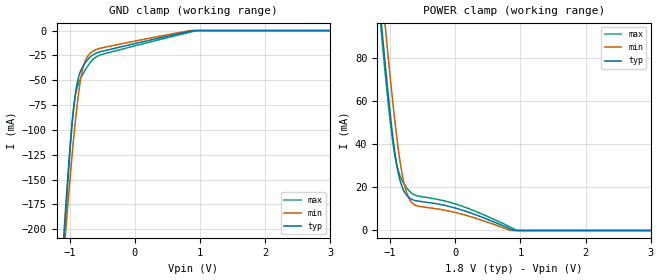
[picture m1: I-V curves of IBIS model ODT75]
| [Disclaimer]  This software code and all associated documentation, comments
| or other information (collectively "Software") is provided
| "AS IS" without warranty of any kind. MICRON TECHNOLOGY, INC.
| ("MTI") EXPRESSLY DISCLAIMS ALL WARRANTIES EXPRESS OR IMPLIED,
| INCLUDING BUT NOT LIMITED TO, NONINFRINGEMENT OF THIRD PARTY
| RIGHTS, AND ANY IMPLIED WARRANTIES OF MERCHANTABILITY OR
| FITNESS FOR ANY PARTICULAR PURPOSE. MTI DOES NOT WARRANT THAT
| THE SOFTWARE WILL MEET YOUR REQUIREMENTS, OR THAT THE
| OPERATION OF THE SOFTWARE WILL BE UNINTERRUPTED OR ERROR-FREE.
| FURTHERMORE, MTI DOES NOT MAKE ANY REPRESENTATIONS REGARDING
| THE USE OR THE RESULTS OF THE USE OF THE SOFTWARE IN TERMS OF
| ITS CORRECTNESS, ACCURACY, RELIABILITY, OR OTHERWISE. THE
| ENTIRE RISK ARISING OUT OF USE OR PERFORMANCE OF THE SOFTWARE
| REMAINS WITH YOU. IN NO EVENT SHALL MTI, ITS AFFILIATED
| COMPANIES OR THEIR SUPPLIERS BE LIABLE FOR ANY DIRECT,
| INDIRECT, CONSEQUENTIAL, INCIDENTAL, OR SPECIAL DAMAGES
| (INCLUDING, WITHOUT LIMITATION, DAMAGES FOR LOSS OF PROFITS,
| BUSINESS INTERRUPTION, OR LOSS OF INFORMATION) ARISING OUT OF
| YOUR USE OF OR INABILITY TO USE THE SOFTWARE, EVEN IF MTI HAS
| BEEN ADVISED OF THE POSSIBILITY OF SUCH DAMAGES. Because some
| jurisdictions prohibit the exclusion or limitation of
| liability for consequential or incidental damages, the above
| limitation may not apply to you.
| [Copyright] Copyright 2003 Micron Technology, Inc. All rights reserved.
| From u27_odt75.ibs, Micron Technology, Inc.
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|   MODEL ODT75
[Model]   ODT75
Model_type   Input
Vinl = 650.000mV
Vinh = 1.150V
|   typ   min   max
C_comp   4.50pF   4.20pF   4.82pF
| Note: C_comp increases when the ODT circuit is enabled.
[Model Spec]
| Input threshold voltage corners
Vinh   0.650V   0.600V   0.700V
Vinl   1.150V   1.100V   1.200V
[Voltage Range]   1.800V   1.700V   1.900V
[Temperature Range]   25.0   85.0   0.0
[GND Clamp]
|   Voltage   I(typ)   I(min)   I(max)
-1.8V     -1.002A    -880.6mA   -1.242A
-1.09V    -207.5mA   NA         -227.1mA
-1.06V    -178.3mA   -203mA     NA
-980mV    -108.1mA   -139.6mA   NA
-940mV    -79.99mA   -110.6mA   NA
-910mV    -63.8mA    NA         -65.07mA
-860mV    -46.55mA   -62.41mA   NA
-800mV    -36.71mA   -39.51mA   NA
-730mV    -29.94mA   NA         -36.66mA
-620mV    -23.62mA   -19.97mA   NA
900mV     0A         NA         NA
3.6V      0A         0A         0A
[POWER Clamp]
|   Voltage   I(typ)   I(min)   I(max)
-1.8V     332.3mA    346.3mA    330.2mA
-1.15V    101.1mA    NA         96.77mA
-1.12V    91.26mA    NA         NA
-1.08V    78.42mA    NA         NA
-1.06V    72.17mA    89.87mA    NA
-960mV    43.67mA    59.72mA    NA
-880mV    27.32mA    38.86mA    NA
-760mV    16.88mA    18.82mA    NA
-610mV    13.83mA    11.66mA    16.32mA
0V        10.43mA    8.366mA    12.33mA
900mV     0A         NA         NA
3.6V      0A         0A         0A
